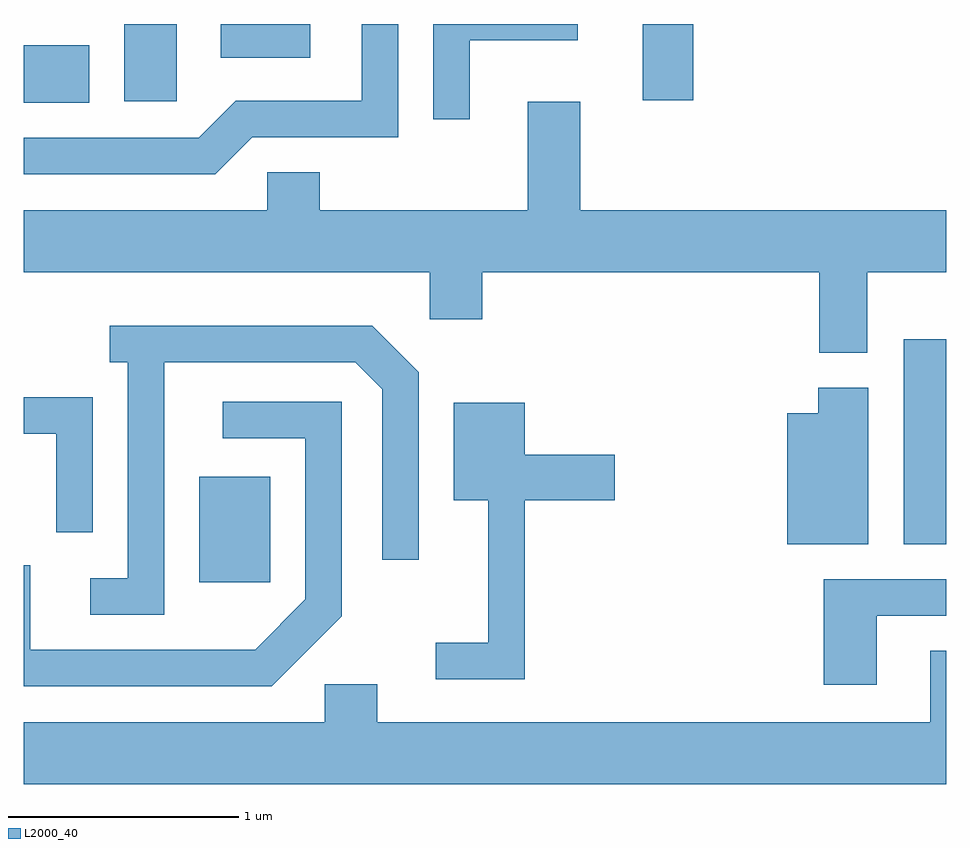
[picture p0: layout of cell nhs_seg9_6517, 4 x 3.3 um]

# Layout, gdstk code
import gdstk
lib = gdstk.Library(unit=1e-6, precision=1e-09)
def R(c, l, rs):  # rectangles x0, y0, x1, y1
    for r in rs: c.add(gdstk.rectangle(r[:2], r[2:], *l))
def P(c, l, *ps):  # polygons
    for p in ps: c.add(gdstk.Polygon(p, *l))
L2000_40 = (2000, 40)

nhs_seg9_6517 = lib.new_cell('nhs_seg9_6517')
R(nhs_seg9_6517, L2000_40, [(378.371,2006.011,378.679,2006.469), (381.426,2006.176,381.611,2007.064), (377.611,2008.091,377.894,2008.339), (378.046,2008.096,378.274,2008.432), (380.296,2008.101,380.514,2008.432), (378.466,2008.286,378.854,2008.432)])
P(nhs_seg9_6517, L2000_40, [(378.602,2007.941),(379.234,2007.941),(379.234,2008.432),(379.076,2008.432),(379.076,2008.099),(378.529,2008.099),(378.369,2007.939),(377.611,2007.939),(377.611,2007.781),(378.442,2007.781)],
  [(379.544,2008.361),(380.014,2008.361),(380.014,2008.432),(379.386,2008.432),(379.386,2008.018),(379.544,2008.018)],
  [(381.269,2007.356),(381.611,2007.356),(381.611,2007.624),(380.024,2007.624),(380.024,2008.094),(379.796,2008.094),(379.796,2007.624),(378.894,2007.624),(378.894,2007.789),(378.666,2007.789),(378.666,2007.624),(377.611,2007.624),(377.611,2007.356),(379.371,2007.356),(379.371,2007.151),(379.599,2007.151),(379.599,2007.356),(381.061,2007.356),(381.061,2007.006),(381.269,2007.006)],
  [(378.219,2006.966),(379.049,2006.966),(379.166,2006.849),(379.166,2006.108),(379.324,2006.108),(379.324,2006.922),(379.122,2007.124),(377.983,2007.124),(377.983,2006.966),(378.061,2006.966),(378.061,2006.029),(377.898,2006.029),(377.898,2005.871),(378.219,2005.871)],
  [(381.274,2006.854),(381.056,2006.854),(381.056,2006.744),(380.921,2006.744),(380.921,2006.176),(381.274,2006.176)],
  [(377.909,2006.814),(377.611,2006.814),(377.611,2006.656),(377.751,2006.656),(377.751,2006.228),(377.909,2006.228)],
  [(378.989,2005.864),(378.989,2006.794),(378.473,2006.794),(378.473,2006.636),(378.831,2006.636),(378.831,2005.937),(378.614,2005.719),(377.639,2005.719),(377.639,2006.084),(377.611,2006.084),(377.611,2005.561),(378.687,2005.561)],
  [(379.784,2006.366),(380.174,2006.366),(380.174,2006.564),(379.784,2006.564),(379.784,2006.789),(379.476,2006.789),(379.476,2006.366),(379.626,2006.366),(379.626,2005.749),(379.398,2005.749),(379.398,2005.591),(379.784,2005.591)],
  [(381.309,2005.866),(381.611,2005.866),(381.611,2006.024),(381.081,2006.024),(381.081,2005.566),(381.309,2005.566)],
  [(381.611,2005.714),(381.541,2005.714),(381.541,2005.404),(379.144,2005.404),(379.144,2005.569),(378.916,2005.569),(378.916,2005.404),(377.611,2005.404),(377.611,2005.136),(381.611,2005.136)])

lib.write_gds('nhs_seg9_6517.gds')
